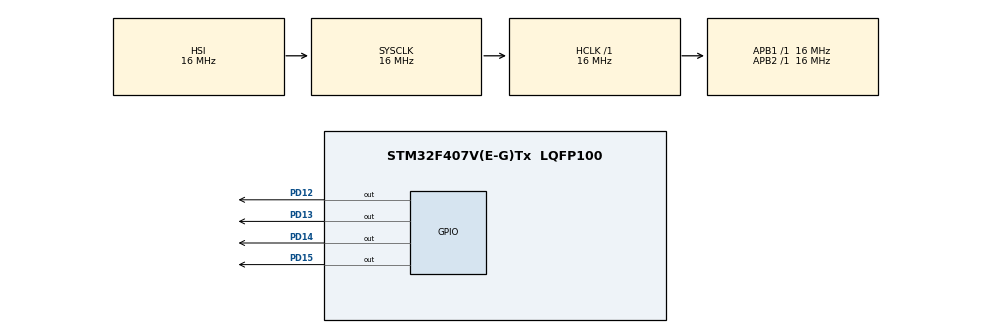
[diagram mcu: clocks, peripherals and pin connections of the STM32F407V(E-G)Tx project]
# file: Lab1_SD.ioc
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Mcu.Family=STM32F4
Mcu.Name=STM32F407V(E-G)Tx
Mcu.Package=LQFP100
NVIC.PriorityGroup=NVIC_PRIORITYGROUP_4
PD12.Signal=GPIO_Output
PD13.Signal=GPIO_Output
PD14.Signal=GPIO_Output
PD15.Signal=GPIO_Output
ProjectManager.HeapSize=0x200
ProjectManager.StackSize=0x400
ProjectManager.TargetToolchain=STM32CubeIDE
RCC.AHBFreq_Value=16000000
RCC.APB1Freq_Value=16000000
RCC.APB2Freq_Value=16000000
RCC.CortexFreq_Value=16000000
RCC.HSE_VALUE=25000000
RCC.HSI_VALUE=16000000
RCC.LSE_VALUE=32768
RCC.SYSCLKFreq_VALUE=16000000
RCC.VCOOutputFreq_Value=192000000
board=custom

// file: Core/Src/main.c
/* USER CODE BEGIN Header */
/**
  ******************************************************************************
  * @file           : main.c
  * @brief          : Main program body
  ******************************************************************************
  * @attention
  *
  * Copyright (c) 2024 STMicroelectronics.
  * All rights reserved.
  *
  * This software is licensed under terms that can be found in the LICENSE file
  * in the root directory of this software component.
  * If no LICENSE file comes with this software, it is provided AS-IS.
  *
  ******************************************************************************
  */
/* USER CODE END Header */
#include "main.h"

/* USER CODE BEGIN PD */
#define LED1 GPIO_PIN_12
#define LED2 GPIO_PIN_13
#define LED3 GPIO_PIN_14
#define LED4 GPIO_PIN_15
/* USER CODE END PD */

void SystemClock_Config(void);
static void MX_GPIO_Init(void);

/* USER CODE BEGIN 0 */
void set_led(uint16_t led)
{
	HAL_GPIO_WritePin(GPIOD, led, GPIO_PIN_SET);
}

void reset_led(uint16_t led)
{
	HAL_GPIO_WritePin(GPIOD, led, GPIO_PIN_RESET);
}
/* USER CODE END 0 */

int main(void)
{

  /* USER CODE BEGIN 1 */
	int state = 0;
  /* USER CODE END 1 */

  /* MCU Configuration--------------------------------------------------------*/

  /* Reset of all peripherals, Initializes the Flash interface and the Systick. */
  HAL_Init();

  /* Configure the system clock */
  SystemClock_Config();

  /* Initialize all configured peripherals */
  MX_GPIO_Init();

  /* Infinite loop */
  /* USER CODE BEGIN WHILE */
  while (1)
  {
	  uint16_t leds[] = {LED1, LED2, LED3, LED4};
	  if (state <= 10){
		  set_led(LED1);
		  set_led(LED3);
		  HAL_Delay(500);
		  set_led(LED2);
		  set_led(LED4);

		  reset_led(LED1);
		  reset_led(LED3);
		  HAL_Delay(500);
		  reset_led(LED2);
		  reset_led(LED4);

	  }
	  else if (state > 10 && state <= 20){
		  for (int l = 0; l<4; l++ ){
			  set_led(leds[l]);
			  HAL_Delay(500);
			  reset_led(leds[l]);
		  }

	  }else {
		  for (int l = 0; l<4; l++ ){
			  set_led(leds[l]);
		  }
		  HAL_Delay(500);
		  for (int l = 0; l<4; l++ ){
			  reset_led(leds[l]);
		  }
		  HAL_Delay(500);
		  if (state == 30){
			  state = 0;
		  }
	  }
	  state++;
    /* USER CODE END WHILE */

  }
}

void SystemClock_Config(void)
{
  RCC_OscInitTypeDef RCC_OscInitStruct = {0};
  RCC_ClkInitTypeDef RCC_ClkInitStruct = {0};

  /** Configure the main internal regulator output voltage
  */
  __HAL_RCC_PWR_CLK_ENABLE();
  __HAL_PWR_VOLTAGESCALING_CONFIG(PWR_REGULATOR_VOLTAGE_SCALE1);

  /** Initializes the RCC Oscillators according to the specified parameters
  * in the RCC_OscInitTypeDef structure.
  */
  RCC_OscInitStruct.OscillatorType = RCC_OSCILLATORTYPE_HSI;
  RCC_OscInitStruct.HSIState = RCC_HSI_ON;
  RCC_OscInitStruct.HSICalibrationValue = RCC_HSICALIBRATION_DEFAULT;
  RCC_OscInitStruct.PLL.PLLState = RCC_PLL_NONE;
  if (HAL_RCC_OscConfig(&RCC_OscInitStruct) != HAL_OK)
  {
    Error_Handler();
  }

  /** Initializes the CPU, AHB and APB buses clocks
  */
  RCC_ClkInitStruct.ClockType = RCC_CLOCKTYPE_HCLK|RCC_CLOCKTYPE_SYSCLK
                              |RCC_CLOCKTYPE_PCLK1|RCC_CLOCKTYPE_PCLK2;
  RCC_ClkInitStruct.SYSCLKSource = RCC_SYSCLKSOURCE_HSI;
  RCC_ClkInitStruct.AHBCLKDivider = RCC_SYSCLK_DIV1;
  RCC_ClkInitStruct.APB1CLKDivider = RCC_HCLK_DIV1;
  RCC_ClkInitStruct.APB2CLKDivider = RCC_HCLK_DIV1;

  if (HAL_RCC_ClockConfig(&RCC_ClkInitStruct, FLASH_LATENCY_0) != HAL_OK)
  {
    Error_Handler();
  }
}

static void MX_GPIO_Init(void)
{
  GPIO_InitTypeDef GPIO_InitStruct = {0};

  /* GPIO Ports Clock Enable */
  __HAL_RCC_GPIOD_CLK_ENABLE();

  /*Configure GPIO pin Output Level */
  HAL_GPIO_WritePin(GPIOD, GPIO_PIN_12|GPIO_PIN_13|GPIO_PIN_14|GPIO_PIN_15, GPIO_PIN_RESET);

  /*Configure GPIO pins : PD12 PD13 PD14 PD15 */
  GPIO_InitStruct.Pin = GPIO_PIN_12|GPIO_PIN_13|GPIO_PIN_14|GPIO_PIN_15;
  GPIO_InitStruct.Mode = GPIO_MODE_OUTPUT_PP;
  GPIO_InitStruct.Pull = GPIO_NOPULL;
  GPIO_InitStruct.Speed = GPIO_SPEED_FREQ_LOW;
  HAL_GPIO_Init(GPIOD, &GPIO_InitStruct);

}

void Error_Handler(void)
{
  __disable_irq();
  while (1)
  {
  }
}
